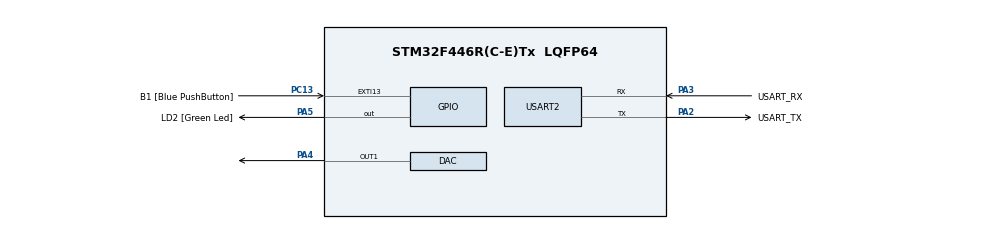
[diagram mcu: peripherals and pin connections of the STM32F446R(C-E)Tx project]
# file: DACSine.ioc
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Mcu.Family=STM32F4
PC15-OSC32_OUT.Mode=LSE-External-Oscillator
SH.COMP_DAC1_group.0=DAC_OUT1,DAC_OUT1
PH0-OSC_IN.Signal=RCC_OSC_IN
RCC.CortexFreq_Value=84000000
PC13.Signal=GPXTI13
PA14.GPIO_Label=TCK
PC13.GPIO_Label=B1 [Blue PushButton]
RCC.APB1CLKDivider=RCC_HCLK_DIV2
PC14-OSC32_IN.Signal=RCC_OSC32_IN
RCC.SYSCLKSource=RCC_SYSCLKSOURCE_PLLCLK
ProjectManager.StackSize=0x400
PA13.Signal=SYS_JTMS-SWDIO
PA3.Mode=Asynchronous
ProjectManager.TargetToolchain=STM32CubeIDE
RCC.HCLKFreq_Value=84000000
RCC.APB2TimFreq_Value=84000000
RCC.USBFreq_Value=84000000
PC15-OSC32_OUT.Signal=RCC_OSC32_OUT
RCC.AHBFreq_Value=84000000
PH0-OSC_IN.Mode=HSE-External-Oscillator
PA5.Signal=GPIO_Output
RCC.HSE_VALUE=8000000
board=NUCLEO-F446RE
RCC.VCOOutputFreq_Value=168000000
RCC.APB2Freq_Value=42000000
PC14-OSC32_IN.Mode=LSE-External-Oscillator
PA14.Mode=Serial_Wire
PH1-OSC_OUT.Signal=RCC_OSC_OUT
PA13.Mode=Serial_Wire
Mcu.Name=STM32F446R(C-E)Tx
PA2.Signal=USART2_TX
PA13.GPIO_Label=TMS
RCC.FLatency-AdvancedSettings=FLASH_LATENCY_2
PH1-OSC_OUT.Mode=HSE-External-Oscillator
RCC.48MHZClocksFreq_Value=84000000
PB3.Signal=SYS_JTDO-SWO
PA4.Signal=COMP_DAC1_group
RCC.SYSCLKFreq_VALUE=84000000
Mcu.Package=LQFP64
PA5.GPIO_Label=LD2 [Green Led]
PC13.GPIO_ModeDefaultEXTI=GPIO_MODE_IT_FALLING
USART2.VirtualMode=VM_ASYNC
PA2.GPIO_Label=USART_TX
PA14.Signal=SYS_JTCK-SWCLK
ProjectManager.HeapSize=0x200
RCC.HSI_VALUE=16000000
NVIC.PriorityGroup=NVIC_PRIORITYGROUP_0
RCC.APB2CLKDivider=RCC_HCLK_DIV2
RCC.PLLM=8
RCC.PLLN=84
RCC.APB1TimFreq_Value=84000000
PA2.Mode=Asynchronous
RCC.APB1Freq_Value=42000000
PA3.GPIO_Label=USART_RX
PA3.Signal=USART2_RX
PB3.GPIO_Label=SWO

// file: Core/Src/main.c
/* USER CODE BEGIN Header */
/**
 ******************************************************************************
 * @file           : main.c
 * @brief          : Main program body
 ******************************************************************************
 * @attention
 *
 * <h2><center>&copy; Copyright (c) 2021 STMicroelectronics.
 * All rights reserved.</center></h2>
 *
 * This software component is licensed by ST under BSD 3-Clause license,
 * the "License"; You may not use this file except in compliance with the
 * License. You may obtain a copy of the License at:
 *                        opensource.org/licenses/BSD-3-Clause
 *
 ******************************************************************************
 */
/* USER CODE END Header */
#include "main.h"

/* USER CODE BEGIN Includes */

#include <math.h>

/* USER CODE END Includes */

/* USER CODE BEGIN PD */

#define TOLERANCE 0.05 // [V]
#define PI 3.14159265
#define MAX_VOLTAGE 3.3 // [V]
#define MAX_DAC_OUT 4095
#define VOLTG_DAC_COEF MAX_DAC_OUT / MAX_VOLTAGE
#define Ts 1 // [ms]

/* USER CODE END PD */

DAC_HandleTypeDef hdac;

UART_HandleTypeDef huart2;

void SystemClock_Config (void);
static void MX_GPIO_Init (void);
static void MX_USART2_UART_Init (void);
static void MX_DAC_Init (void);
/* USER CODE BEGIN PFP */

void generateSineWave (float, int);

/* USER CODE END PFP */

int main (void)
{

    /* MCU Configuration--------------------------------------------------------*/

    /* Reset of all peripherals, Initializes the Flash interface and the Systick. */
    HAL_Init ();

    /* Configure the system clock */
    SystemClock_Config ();

    /* Initialize all configured peripherals */
    MX_GPIO_Init ();
    MX_USART2_UART_Init ();
    MX_DAC_Init ();
    /* USER CODE BEGIN 2 */

    HAL_DAC_Start (&hdac, DAC_CHANNEL_1);

    /* USER CODE END 2 */

    /* Infinite loop */
    while (1)
    {

        /* USER CODE BEGIN 3 */

        generateSineWave (.8, 15);
    }
    /* USER CODE END 3 */
}

void SystemClock_Config (void)
{
    RCC_OscInitTypeDef RCC_OscInitStruct =
        { 0 };
    RCC_ClkInitTypeDef RCC_ClkInitStruct =
        { 0 };

    /** Configure the main internal regulator output voltage
     */
    __HAL_RCC_PWR_CLK_ENABLE();
    __HAL_PWR_VOLTAGESCALING_CONFIG(PWR_REGULATOR_VOLTAGE_SCALE3);
    /** Initializes the RCC Oscillators according to the specified parameters
     * in the RCC_OscInitTypeDef structure.
     */
    RCC_OscInitStruct.OscillatorType = RCC_OSCILLATORTYPE_HSI;
    RCC_OscInitStruct.HSIState = RCC_HSI_ON;
    RCC_OscInitStruct.HSICalibrationValue = RCC_HSICALIBRATION_DEFAULT;
    RCC_OscInitStruct.PLL.PLLState = RCC_PLL_ON;
    RCC_OscInitStruct.PLL.PLLSource = RCC_PLLSOURCE_HSI;
    RCC_OscInitStruct.PLL.PLLM = 8;
    RCC_OscInitStruct.PLL.PLLN = 84;
    RCC_OscInitStruct.PLL.PLLP = RCC_PLLP_DIV2;
    RCC_OscInitStruct.PLL.PLLQ = 2;
    RCC_OscInitStruct.PLL.PLLR = 2;
    if (HAL_RCC_OscConfig (&RCC_OscInitStruct) != HAL_OK)
    {
        Error_Handler ();
    }
    /** Initializes the CPU, AHB and APB buses clocks
     */
    RCC_ClkInitStruct.ClockType = RCC_CLOCKTYPE_HCLK | RCC_CLOCKTYPE_SYSCLK
            | RCC_CLOCKTYPE_PCLK1 | RCC_CLOCKTYPE_PCLK2;
    RCC_ClkInitStruct.SYSCLKSource = RCC_SYSCLKSOURCE_PLLCLK;
    RCC_ClkInitStruct.AHBCLKDivider = RCC_SYSCLK_DIV1;
    RCC_ClkInitStruct.APB1CLKDivider = RCC_HCLK_DIV2;
    RCC_ClkInitStruct.APB2CLKDivider = RCC_HCLK_DIV2;

    if (HAL_RCC_ClockConfig (&RCC_ClkInitStruct, FLASH_LATENCY_2) != HAL_OK)
    {
        Error_Handler ();
    }
}

static void MX_DAC_Init (void)
{

    DAC_ChannelConfTypeDef sConfig =
        { 0 };

    /** DAC Initialization
     */
    hdac.Instance = DAC;
    if (HAL_DAC_Init (&hdac) != HAL_OK)
    {
        Error_Handler ();
    }
    /** DAC channel OUT1 config
     */
    sConfig.DAC_Trigger = DAC_TRIGGER_NONE;
    sConfig.DAC_OutputBuffer = DAC_OUTPUTBUFFER_ENABLE;
    if (HAL_DAC_ConfigChannel (&hdac, &sConfig, DAC_CHANNEL_1) != HAL_OK)
    {
        Error_Handler ();
    }

}

static void MX_USART2_UART_Init (void)
{

    huart2.Instance = USART2;
    huart2.Init.BaudRate = 115200;
    huart2.Init.WordLength = UART_WORDLENGTH_8B;
    huart2.Init.StopBits = UART_STOPBITS_1;
    huart2.Init.Parity = UART_PARITY_NONE;
    huart2.Init.Mode = UART_MODE_TX_RX;
    huart2.Init.HwFlowCtl = UART_HWCONTROL_NONE;
    huart2.Init.OverSampling = UART_OVERSAMPLING_16;
    if (HAL_UART_Init (&huart2) != HAL_OK)
    {
        Error_Handler ();
    }

}

static void MX_GPIO_Init (void)
{
    GPIO_InitTypeDef GPIO_InitStruct =
        { 0 };

    /* GPIO Ports Clock Enable */
    __HAL_RCC_GPIOC_CLK_ENABLE();
    __HAL_RCC_GPIOH_CLK_ENABLE();
    __HAL_RCC_GPIOA_CLK_ENABLE();
    __HAL_RCC_GPIOB_CLK_ENABLE();

    /*Configure GPIO pin Output Level */
    HAL_GPIO_WritePin (LD2_GPIO_Port, LD2_Pin, GPIO_PIN_RESET);

    /*Configure GPIO pin : B1_Pin */
    GPIO_InitStruct.Pin = B1_Pin;
    GPIO_InitStruct.Mode = GPIO_MODE_IT_FALLING;
    GPIO_InitStruct.Pull = GPIO_NOPULL;
    HAL_GPIO_Init (B1_GPIO_Port, &GPIO_InitStruct);

    /*Configure GPIO pin : LD2_Pin */
    GPIO_InitStruct.Pin = LD2_Pin;
    GPIO_InitStruct.Mode = GPIO_MODE_OUTPUT_PP;
    GPIO_InitStruct.Pull = GPIO_NOPULL;
    GPIO_InitStruct.Speed = GPIO_SPEED_FREQ_LOW;
    HAL_GPIO_Init (LD2_GPIO_Port, &GPIO_InitStruct);

}

/* USER CODE BEGIN 4 */

/**
 * @brief Generates a sine wave from a given amplitude and frequency
 * @param Amplitude in [V]
 * @param Frequency in [Hz]
 * @retval None
 */
void generateSineWave (float A, int f)
{
    A -= TOLERANCE;

    int T = 1000 / f; // [ms]
    int N = T / Ts;
    float u = 0;

    /*
              _                 _
             |       2π * n * Ts |                 Ts
     u = A * |1 + sin----------- |      n e [0... ---]
             |_            T    _|                 T
     */

    for (int n = 0; n < N; n++)
    {
        u = A * (sin (2 * PI * n * Ts / T) + 1) + TOLERANCE; // [V]
        u *= VOLTG_DAC_COEF;                                 // [DAC_OUT]

        HAL_DAC_SetValue (&hdac,
                          DAC_CHANNEL_1,
                          DAC_ALIGN_12B_R, u);

        HAL_Delay (Ts - 1);
    }
}

/* USER CODE END 4 */

void Error_Handler (void)
{
    /* USER CODE BEGIN Error_Handler_Debug */
    /* User can add his own implementation to report the HAL error return state */
    __disable_irq ();
    while (1)
    {
    }
    /* USER CODE END Error_Handler_Debug */
}

/************************ (C) COPYRIGHT STMicroelectronics *****END OF FILE****/
